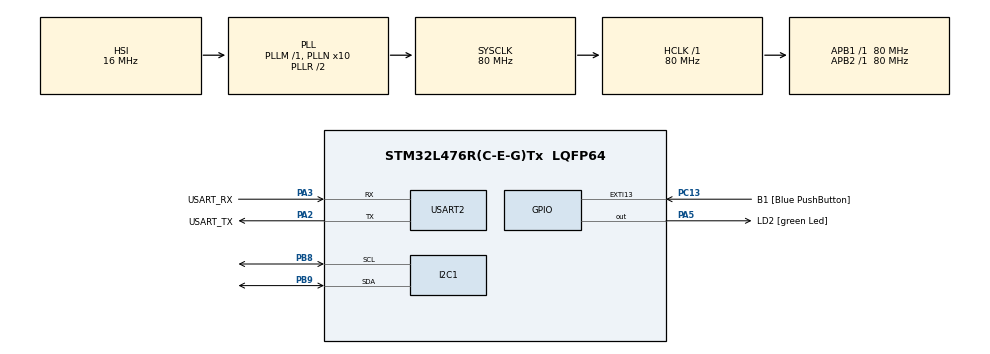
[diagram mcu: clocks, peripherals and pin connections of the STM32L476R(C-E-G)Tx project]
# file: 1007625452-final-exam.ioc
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I2C1.Timing=0x10909CEC
Mcu.Family=STM32L4
Mcu.Name=STM32L476R(C-E-G)Tx
Mcu.Package=LQFP64
NVIC.PriorityGroup=NVIC_PRIORITYGROUP_4
NVIC.USART2_IRQn=true\:0\:0\:false\:false\:true\:true\:true\:true
PA13\ (JTMS-SWDIO).GPIO_Label=TMS
PA13\ (JTMS-SWDIO).Mode=Serial_Wire
PA13\ (JTMS-SWDIO).Signal=SYS_JTMS-SWDIO
PA14\ (JTCK-SWCLK).GPIO_Label=TCK
PA14\ (JTCK-SWCLK).Mode=Serial_Wire
PA14\ (JTCK-SWCLK).Signal=SYS_JTCK-SWCLK
PA2.GPIO_Label=USART_TX
PA2.GPIO_Mode=GPIO_MODE_AF_PP
PA2.GPIO_PuPd=GPIO_NOPULL
PA2.GPIO_Speed=GPIO_SPEED_FREQ_VERY_HIGH
PA2.Mode=Asynchronous
PA2.Signal=USART2_TX
PA3.GPIO_Label=USART_RX
PA3.GPIO_Mode=GPIO_MODE_AF_PP
PA3.GPIO_PuPd=GPIO_NOPULL
PA3.GPIO_Speed=GPIO_SPEED_FREQ_VERY_HIGH
PA3.Mode=Asynchronous
PA3.Signal=USART2_RX
PA5.GPIO_Label=LD2 [green Led]
PA5.GPIO_ModeDefaultOutputPP=GPIO_MODE_OUTPUT_PP
PA5.GPIO_PuPd=GPIO_NOPULL
PA5.GPIO_Speed=GPIO_SPEED_FREQ_LOW
PA5.Signal=GPIO_Output
PB3\ (JTDO-TRACESWO).GPIO_Label=SWO
PB3\ (JTDO-TRACESWO).Signal=SYS_JTDO-SWO
PB8.Mode=I2C
PB8.Signal=I2C1_SCL
PB9.Mode=I2C
PB9.Signal=I2C1_SDA
PC13.GPIO_Label=B1 [Blue PushButton]
PC13.GPIO_ModeDefaultEXTI=GPIO_MODE_IT_FALLING
PC13.GPIO_PuPd=GPIO_NOPULL
PC13.Signal=GPXTI13
PC14-OSC32_IN\ (PC14).Mode=LSE-External-Oscillator
PC14-OSC32_IN\ (PC14).Signal=RCC_OSC32_IN
PC15-OSC32_OUT\ (PC15).Mode=LSE-External-Oscillator
PC15-OSC32_OUT\ (PC15).Signal=RCC_OSC32_OUT
PH0-OSC_IN\ (PH0).Signal=RCC_OSC_IN
PH1-OSC_OUT\ (PH1).Signal=RCC_OSC_OUT
ProjectManager.HeapSize=0x200
ProjectManager.StackSize=0x400
ProjectManager.TargetToolchain=STM32CubeIDE
RCC.ADCFreq_Value=64000000
RCC.AHBFreq_Value=80000000
RCC.APB1Freq_Value=80000000
RCC.APB1TimFreq_Value=80000000
RCC.APB2Freq_Value=80000000
RCC.APB2TimFreq_Value=80000000
RCC.CortexFreq_Value=80000000
RCC.HCLKFreq_Value=80000000
RCC.HSE_VALUE=8000000
RCC.HSI_VALUE=16000000
RCC.MSI_VALUE=4000000
RCC.PLLN=10
RCC.PLLSourceVirtual=RCC_PLLSOURCE_HSI
RCC.PREFETCH_ENABLE=1
RCC.SYSCLKFreq_VALUE=80000000
RCC.SYSCLKSource=RCC_SYSCLKSOURCE_PLLCLK
RCC.USBFreq_Value=64000000
RCC.VCOOutputFreq_Value=160000000
USART2.VirtualMode-Asynchronous=VM_ASYNC
board=NUCLEO-L476RG

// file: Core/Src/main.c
/* USER CODE BEGIN Header */
/**
  ******************************************************************************
  * @file           : main.c
  * @brief          : Main program body
  ******************************************************************************
  * @attention
  *
  * Copyright (c) 2023 STMicroelectronics.
  * All rights reserved.
  *
  * This software is licensed under terms that can be found in the LICENSE file
  * in the root directory of this software component.
  * If no LICENSE file comes with this software, it is provided AS-IS.
  *
  ******************************************************************************
  */
/* USER CODE END Header */
#include "main.h"

/* USER CODE BEGIN Includes */
#include "ssd1306.h"
#include "string.h"
#include "ssd1306_fonts.h"
#include <stdio.h>
#include "ring_buffer.h"
/* USER CODE END Includes */

I2C_HandleTypeDef hi2c1;

UART_HandleTypeDef huart2;

/* USER CODE BEGIN PV */

uint8_t rx_buffer[12];//Ring buffer of 5 positions due to the parameters given in the exercise.
ring_buffer_t ring_buffer_password; //variable that indicates the data in the ring buffer.

uint8_t clave[]="1007625452";

uint8_t rx_data;
/* USER CODE END PV */

void SystemClock_Config(void);
static void MX_GPIO_Init(void);
static void MX_USART2_UART_Init(void);
static void MX_I2C1_Init(void);

/* USER CODE BEGIN 0 */
int _write(int file, char *ptr, int len)
{
  HAL_UART_Transmit(&huart2, (uint8_t *)ptr, len, HAL_MAX_DELAY);
  return len;
}

void HAL_UART_RxCpltCallback(UART_HandleTypeDef *huart)
{

	ring_buffer_put(&ring_buffer_password, rx_data);

	HAL_UART_Receive_IT(&huart2, &rx_data, 1);
}

/* USER CODE END 0 */

int main(void)
{

  /* MCU Configuration--------------------------------------------------------*/

  /* Reset of all peripherals, Initializes the Flash interface and the Systick. */
  HAL_Init();

  /* Configure the system clock */
  SystemClock_Config();

  /* Initialize all configured peripherals */
  MX_GPIO_Init();
  MX_USART2_UART_Init();
  MX_I2C1_Init();
  /* USER CODE BEGIN 2 */
  ssd1306_Init();
  ring_buffer_init(&ring_buffer_password, rx_buffer, 12);//Initialize the ring buffer.

  HAL_UART_Receive_IT(&huart2, &rx_data, 1);

  /* USER CODE END 2 */

  /* Infinite loop */
  /* USER CODE BEGIN WHILE */
    ssd1306_Init();
	  ssd1306_Fill(Black);
	  ssd1306_SetCursor(35, 35);
	  ssd1306_WriteString("Waiting.", Font_11x18, White);
	  ssd1306_UpdateScreen();
	  int count= 0;

  while (1)
  {

	  uint16_t size = ring_buffer_size(&ring_buffer_password);
	  	  if (size != 0) {
	  		  uint8_t rx_message[size + 1];

	  		  for (uint16_t idx = 0; idx < size; idx++) {
	  			  ring_buffer_get(&ring_buffer_password, &rx_message[idx]);
	  		  }

	  		if (size != 1){
	  					  printf("You typed :  %s\r\n", rx_message);
	  					  printf("Received: %s\r\n",rx_buffer);

	  					  if (memcmp(rx_buffer,clave,10)==0){
	  						  printf("Success. \r\n");
	  						  ssd1306_Init();
	  						  ssd1306_Fill(Black);
	  						  ssd1306_SetCursor(35, 35);
	  						  ssd1306_WriteString("Success.", Font_11x18, White);
	  						  ssd1306_UpdateScreen();
	  						  HAL_Delay(10000);
	  					  }
	  					  else{
	  						  printf("Failed. \r\n");
	  						  count=count+1;
	  						  ssd1306_Init();
	  						  ssd1306_Fill(Black);
	  						  ssd1306_SetCursor(35, 35);
	  						  ssd1306_WriteString("Failed.", Font_11x18, White);
	  						  ssd1306_UpdateScreen();
	  						  HAL_Delay(10000);

	  					  }

	  					  if(count==3){
	  						ssd1306_Init();
						  ssd1306_Fill(Black);
						  ssd1306_SetCursor(35, 35);
						  ssd1306_WriteString("Blocked.", Font_11x18, White);
						  ssd1306_UpdateScreen();
						  HAL_Delay(30000);
	  					  }

	  		  rx_message[size] = 0;
	  		  printf("Rec: %s\r\n", rx_message);

	  		ssd1306_Init();
			  ssd1306_Fill(Black);
			  ssd1306_SetCursor(35, 35);
			  ssd1306_WriteString("Waiting.", Font_11x18, White);
			  ssd1306_UpdateScreen();
	  	  }}

	  	HAL_Delay(1000);

    /* USER CODE END WHILE */

  }
}

void SystemClock_Config(void)
{
  RCC_OscInitTypeDef RCC_OscInitStruct = {0};
  RCC_ClkInitTypeDef RCC_ClkInitStruct = {0};

  /** Configure the main internal regulator output voltage
  */
  if (HAL_PWREx_ControlVoltageScaling(PWR_REGULATOR_VOLTAGE_SCALE1) != HAL_OK)
  {
    Error_Handler();
  }

  /** Initializes the RCC Oscillators according to the specified parameters
  * in the RCC_OscInitTypeDef structure.
  */
  RCC_OscInitStruct.OscillatorType = RCC_OSCILLATORTYPE_HSI;
  RCC_OscInitStruct.HSIState = RCC_HSI_ON;
  RCC_OscInitStruct.HSICalibrationValue = RCC_HSICALIBRATION_DEFAULT;
  RCC_OscInitStruct.PLL.PLLState = RCC_PLL_ON;
  RCC_OscInitStruct.PLL.PLLSource = RCC_PLLSOURCE_HSI;
  RCC_OscInitStruct.PLL.PLLM = 1;
  RCC_OscInitStruct.PLL.PLLN = 10;
  RCC_OscInitStruct.PLL.PLLP = RCC_PLLP_DIV7;
  RCC_OscInitStruct.PLL.PLLQ = RCC_PLLQ_DIV2;
  RCC_OscInitStruct.PLL.PLLR = RCC_PLLR_DIV2;
  if (HAL_RCC_OscConfig(&RCC_OscInitStruct) != HAL_OK)
  {
    Error_Handler();
  }

  /** Initializes the CPU, AHB and APB buses clocks
  */
  RCC_ClkInitStruct.ClockType = RCC_CLOCKTYPE_HCLK|RCC_CLOCKTYPE_SYSCLK
                              |RCC_CLOCKTYPE_PCLK1|RCC_CLOCKTYPE_PCLK2;
  RCC_ClkInitStruct.SYSCLKSource = RCC_SYSCLKSOURCE_PLLCLK;
  RCC_ClkInitStruct.AHBCLKDivider = RCC_SYSCLK_DIV1;
  RCC_ClkInitStruct.APB1CLKDivider = RCC_HCLK_DIV1;
  RCC_ClkInitStruct.APB2CLKDivider = RCC_HCLK_DIV1;

  if (HAL_RCC_ClockConfig(&RCC_ClkInitStruct, FLASH_LATENCY_4) != HAL_OK)
  {
    Error_Handler();
  }
}

static void MX_I2C1_Init(void)
{

  hi2c1.Instance = I2C1;
  hi2c1.Init.Timing = 0x10909CEC;
  hi2c1.Init.OwnAddress1 = 0;
  hi2c1.Init.AddressingMode = I2C_ADDRESSINGMODE_7BIT;
  hi2c1.Init.DualAddressMode = I2C_DUALADDRESS_DISABLE;
  hi2c1.Init.OwnAddress2 = 0;
  hi2c1.Init.OwnAddress2Masks = I2C_OA2_NOMASK;
  hi2c1.Init.GeneralCallMode = I2C_GENERALCALL_DISABLE;
  hi2c1.Init.NoStretchMode = I2C_NOSTRETCH_DISABLE;
  if (HAL_I2C_Init(&hi2c1) != HAL_OK)
  {
    Error_Handler();
  }

  /** Configure Analogue filter
  */
  if (HAL_I2CEx_ConfigAnalogFilter(&hi2c1, I2C_ANALOGFILTER_ENABLE) != HAL_OK)
  {
    Error_Handler();
  }

  /** Configure Digital filter
  */
  if (HAL_I2CEx_ConfigDigitalFilter(&hi2c1, 0) != HAL_OK)
  {
    Error_Handler();
  }

}

static void MX_USART2_UART_Init(void)
{

  huart2.Instance = USART2;
  huart2.Init.BaudRate = 115200;
  huart2.Init.WordLength = UART_WORDLENGTH_8B;
  huart2.Init.StopBits = UART_STOPBITS_1;
  huart2.Init.Parity = UART_PARITY_NONE;
  huart2.Init.Mode = UART_MODE_TX_RX;
  huart2.Init.HwFlowCtl = UART_HWCONTROL_NONE;
  huart2.Init.OverSampling = UART_OVERSAMPLING_16;
  huart2.Init.OneBitSampling = UART_ONE_BIT_SAMPLE_DISABLE;
  huart2.AdvancedInit.AdvFeatureInit = UART_ADVFEATURE_NO_INIT;
  if (HAL_UART_Init(&huart2) != HAL_OK)
  {
    Error_Handler();
  }

}

static void MX_GPIO_Init(void)
{
  GPIO_InitTypeDef GPIO_InitStruct = {0};

  /* GPIO Ports Clock Enable */
  __HAL_RCC_GPIOC_CLK_ENABLE();
  __HAL_RCC_GPIOH_CLK_ENABLE();
  __HAL_RCC_GPIOA_CLK_ENABLE();
  __HAL_RCC_GPIOB_CLK_ENABLE();

  /*Configure GPIO pin Output Level */
  HAL_GPIO_WritePin(LD2_GPIO_Port, LD2_Pin, GPIO_PIN_RESET);

  /*Configure GPIO pin : B1_Pin */
  GPIO_InitStruct.Pin = B1_Pin;
  GPIO_InitStruct.Mode = GPIO_MODE_IT_FALLING;
  GPIO_InitStruct.Pull = GPIO_NOPULL;
  HAL_GPIO_Init(B1_GPIO_Port, &GPIO_InitStruct);

  /*Configure GPIO pin : LD2_Pin */
  GPIO_InitStruct.Pin = LD2_Pin;
  GPIO_InitStruct.Mode = GPIO_MODE_OUTPUT_PP;
  GPIO_InitStruct.Pull = GPIO_NOPULL;
  GPIO_InitStruct.Speed = GPIO_SPEED_FREQ_LOW;
  HAL_GPIO_Init(LD2_GPIO_Port, &GPIO_InitStruct);

}

void Error_Handler(void)
{
  __disable_irq();
  while (1)
  {
  }
}
